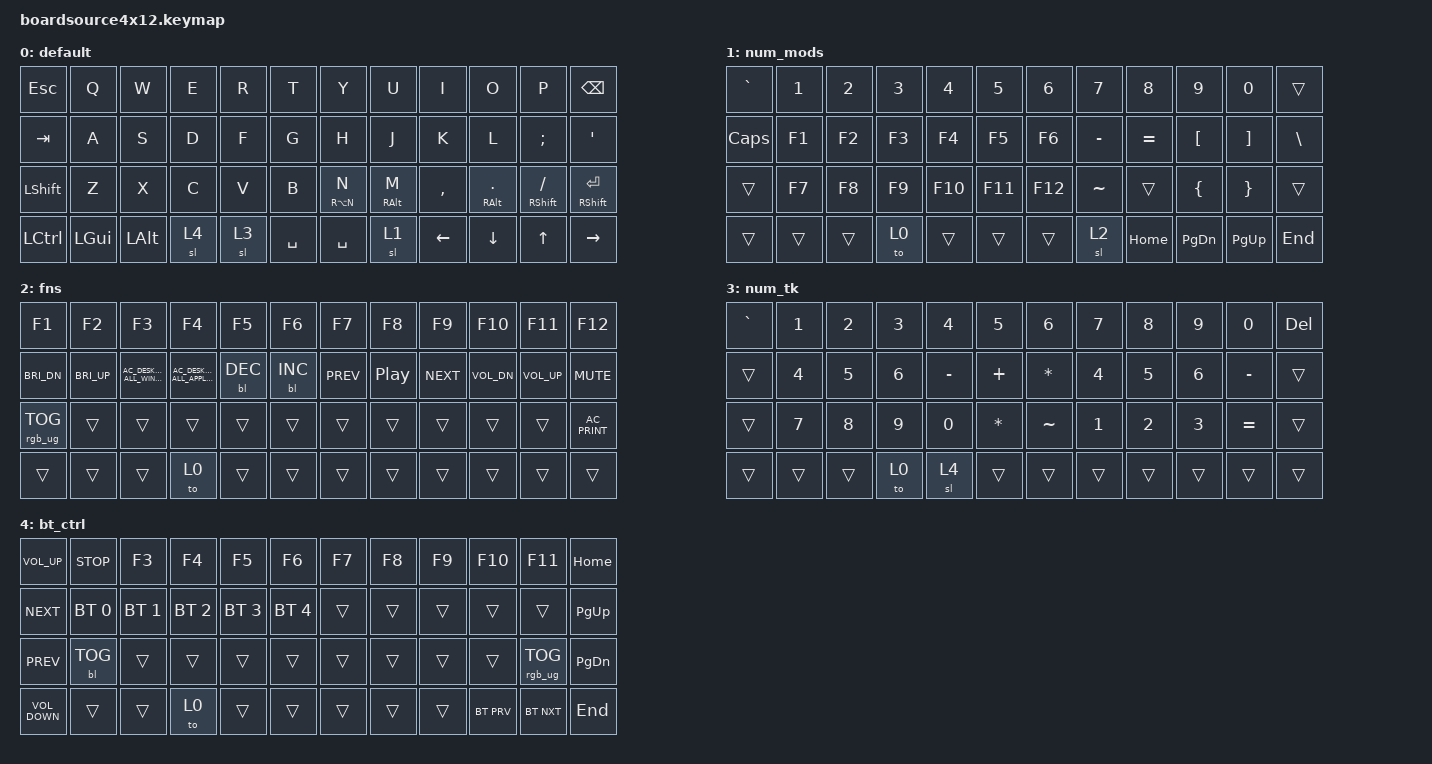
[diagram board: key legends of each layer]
/*
 * Copyright (c) 2021 The ZMK Contributors
 *
 * SPDX-License-Identifier: MIT
 */

#include <behaviors.dtsi>
#include <dt-bindings/zmk/backlight.h>
#include <dt-bindings/zmk/bt.h>
#include <dt-bindings/zmk/keys.h>
#include <dt-bindings/zmk/rgb.h>

#define BT_CTRL     0
#define NUM_TK      1
#define DEFAULT     2
#define NUM_MODS    3
#define FNS         4

&mt { flavor = "tap-preferred"; };

/ {
    combos {
        compatible = "zmk,combos";

        to_bl {
            bindings = <&to 4>;
            key-positions = <40 43>;
            layers = <0>;
            timeout-ms = <500>;
            require-prior-idle-ms = <0>;
        };

        bootloader {
            bindings = <&bootloader>;
            key-positions = <0 11 40 43>;
            timeout-ms = <1000>;
            layers = <0>;
        };

        RESET {
            bindings = <&sys_reset>;
            key-positions = <36 47 40 43>;
        };
    };

    behaviors {
        new_behavior_1: new_behavior_1 {
            compatible = "zmk,behavior-tap-dance";
            label = "NEW_BEHAVIOR_1";
            #binding-cells = <0>;
            bindings = <&kp TAB>, <&caps_word>;
        };

        new_behavior_2: new_behavior_2 {
            compatible = "zmk,behavior-hold-tap";
            label = "NEW_BEHAVIOR_2";
            bindings = <&none>, <&none>;

            #binding-cells = <2>;
            hold-trigger-key-positions = <35>;
            tapping-term-ms = <300>;
            flavor = "tap-preferred";
        };

        lpar: lpar {
            compatible = "zmk,behavior-tap-dance";
            label = "LPAR";
            #binding-cells = <0>;
            tapping-term-ms = <200>;
            bindings = <&kp LSHFT>, <&kp LPAR>;
        };

        rpar: rpar {
            compatible = "zmk,behavior-tap-dance";
            label = "RPAR";
            #binding-cells = <0>;
            tapping-term-ms = <200>;
            bindings = <&kp ENTER>, <&kp RETURN>, <&kp RPAR>;
        };
    };

    macros {
        new_macro: new_macro {
            compatible = "zmk,behavior-macro";
            #binding-cells = <0>;
            bindings = <&lpar>, <&macro_press>, <&kp LSHFT &kp LSHFT>;

            label = "NEW_MACRO";
        };
    };

    keymap {
        compatible = "zmk,keymap";

        default {
            bindings = <
&kp ESC    &kp Q     &kp W     &kp E  &kp R  &kp T      &kp Y        &kp U            &kp I      &kp O              &kp P             &kp BSPC
&kp TAB    &kp A     &kp S     &kp D  &kp F  &kp G      &kp H        &kp J            &kp K      &kp L              &kp SEMI          &kp SQT
&kp LSHFT  &kp Z     &kp X     &kp C  &kp V  &kp B      &mt RA(N) N  &mt RIGHT_ALT M  &kp COMMA  &mt RIGHT_ALT DOT  &mt RSHIFT SLASH  &mt RIGHT_SHIFT RETURN
&kp LCTRL  &kp LGUI  &kp LALT  &sl 4  &sl 3  &kp SPACE  &kp SPACE    &sl 1            &kp LEFT   &kp DOWN           &kp UP            &kp RIGHT
            >;
        };

        num_mods {
            bindings = <
&kp GRAVE  &kp N1  &kp N2  &kp N3  &kp N4   &kp N5   &kp N6   &kp N7     &kp N8     &kp N9     &kp N0     &trans
&kp CAPS   &kp F1  &kp F2  &kp F3  &kp F4   &kp F5   &kp F6   &kp MINUS  &kp EQUAL  &kp LBKT   &kp RBKT   &kp BSLH
&trans     &kp F7  &kp F8  &kp F9  &kp F10  &kp F11  &kp F12  &kp TILDE  &trans     &kp LBRC   &kp RBRC   &trans
&trans     &trans  &trans  &to 0   &trans   &trans   &trans   &sl 2      &kp HOME   &kp PG_DN  &kp PG_UP  &kp END
            >;

            label = "num_mods";
        };

        fns {
            bindings = <
&kp F1           &kp F2        &kp F3                             &kp F4                                  &kp F5      &kp F6      &kp F7      &kp F8    &kp F9      &kp F10       &kp F11       &kp F12
&kp C_BRI_DN     &kp C_BRI_UP  &kp C_AC_DESKTOP_SHOW_ALL_WINDOWS  &kp C_AC_DESKTOP_SHOW_ALL_APPLICATIONS  &bl BL_DEC  &bl BL_INC  &kp C_PREV  &kp C_PP  &kp C_NEXT  &kp C_VOL_DN  &kp C_VOL_UP  &kp K_MUTE
&rgb_ug RGB_TOG  &trans        &trans                             &trans                                  &trans      &trans      &trans      &trans    &trans      &trans        &trans        &kp C_AC_PRINT
&trans           &trans        &trans                             &to 0                                   &trans      &trans      &trans      &trans    &trans      &trans        &trans        &trans
            >;

            label = "fns";
        };

        num_tk {
            bindings = <
&kp GRAVE  &kp N1  &kp N2  &kp N3  &kp N4     &kp N5    &kp N6     &kp N7  &kp N8  &kp N9  &kp N0     &kp DEL
&trans     &kp N4  &kp N5  &kp N6  &kp MINUS  &kp PLUS  &kp ASTRK  &kp N4  &kp N5  &kp N6  &kp MINUS  &trans
&trans     &kp N7  &kp N8  &kp N9  &kp N0     &kp STAR  &kp TILDE  &kp N1  &kp N2  &kp N3  &kp EQUAL  &trans
&trans     &trans  &trans  &to 0   &sl 4      &trans    &trans     &trans  &trans  &trans  &trans     &trans
            >;

            label = "num_tk";
        };

        bt_ctrl {
            bindings = <
&kp C_VOL_UP       &kp C_STOP    &kp F3        &kp F4        &kp F5        &kp F6        &kp F7  &kp F8  &kp F9  &kp F10     &kp F11          &kp HOME
&kp C_NEXT         &bt BT_SEL 0  &bt BT_SEL 1  &bt BT_SEL 2  &bt BT_SEL 3  &bt BT_SEL 4  &trans  &trans  &trans  &trans      &trans           &kp PG_UP
&kp C_PREV         &bl BL_TOG    &trans        &trans        &trans        &trans        &trans  &trans  &trans  &trans      &rgb_ug RGB_TOG  &kp PG_DN
&kp C_VOLUME_DOWN  &trans        &trans        &to 0         &trans        &trans        &trans  &trans  &trans  &bt BT_PRV  &bt BT_NXT       &kp END
            >;

            label = "bt_ctrl";
        };
    };
};
